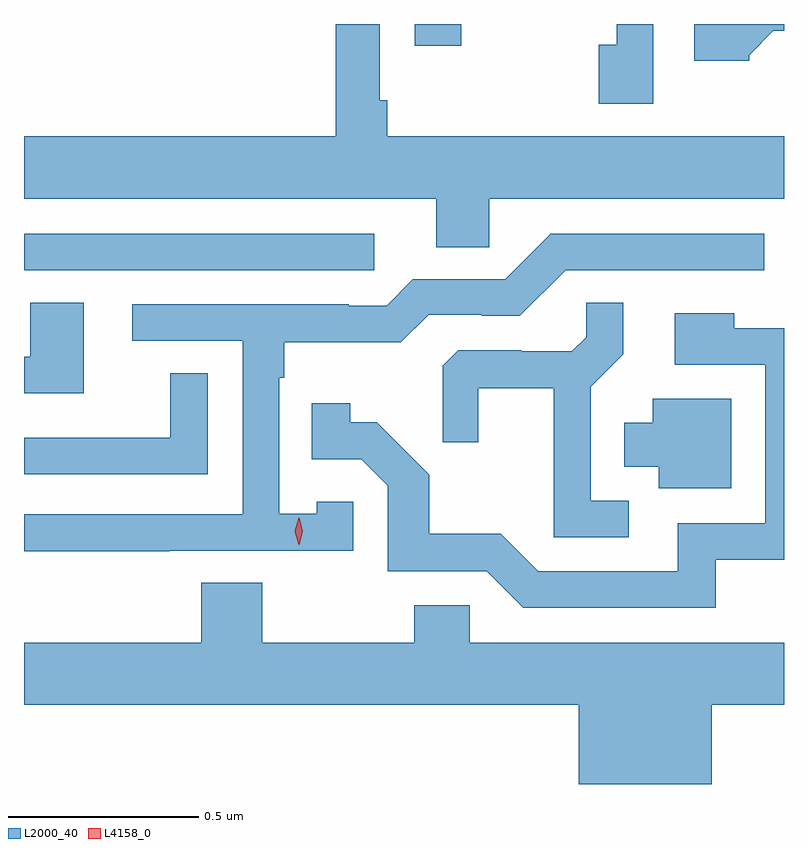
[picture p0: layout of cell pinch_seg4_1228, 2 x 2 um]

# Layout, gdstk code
import gdstk
lib = gdstk.Library(unit=1e-6, precision=1e-09)
def R(c, l, rs):  # rectangles x0, y0, x1, y1
    for r in rs: c.add(gdstk.rectangle(r[:2], r[2:], *l))
def P(c, l, *ps):  # polygons
    for p in ps: c.add(gdstk.Polygon(p, *l))
L2000_40 = (2000, 40)
L4158_0 = (4158, 0)

pinch_seg4_1228 = lib.new_cell('pinch_seg4_1228')
R(pinch_seg4_1228, L2000_40, [(337.272,799.296,338.194,799.392), (338.3,799.887,338.422,799.944)])
P(pinch_seg4_1228, L2000_40, [(338.496,799.484),(339.272,799.484),(339.272,799.648),(338.228,799.648),(338.228,799.744),(338.208,799.744),(338.208,799.944),(338.092,799.944),(338.092,799.648),(337.272,799.648),(337.272,799.484),(338.357,799.484),(338.357,799.357),(338.496,799.357)],
  [(339.18,799.862),(339.244,799.926),(339.272,799.926),(339.272,799.944),(339.036,799.944),(339.036,799.847),(339.18,799.847)],
  [(338.928,799.944),(338.832,799.944),(338.832,799.89),(338.785,799.89),(338.785,799.734),(338.928,799.734)],
  [(337.655,798.558),(338.139,798.558),(338.139,798.687),(338.043,798.687),(338.043,798.655),(337.944,798.655),(337.944,799.013),(337.957,799.013),(337.957,799.106),(338.264,799.106),(338.337,799.179),(338.476,799.179),(338.476,799.176),(338.577,799.176),(338.697,799.296),(339.22,799.296),(339.22,799.392),(338.658,799.392),(338.538,799.272),(338.295,799.272),(338.226,799.203),(338.126,799.203),(338.126,799.206),(337.557,799.206),(337.557,799.11),(337.848,799.11),(337.848,798.654),(337.272,798.654),(337.272,798.556),(337.655,798.556)],
  [(338.863,798.69),(338.763,798.69),(338.763,798.989),(338.849,799.075),(338.849,799.211),(338.751,799.211),(338.751,799.12),(338.714,799.083),(338.58,799.083),(338.58,799.086),(338.415,799.086),(338.374,799.045),(338.374,798.843),(338.468,798.843),(338.468,798.986),(338.666,798.986),(338.666,798.594),(338.863,798.594)],
  [(337.429,799.211),(337.289,799.211),(337.289,799.068),(337.272,799.068),(337.272,798.972),(337.429,798.972)],
  [(339.092,798.534),(339.272,798.534),(339.272,799.143),(339.141,799.143),(339.141,799.183),(338.985,799.183),(338.985,799.047),(339.222,799.047),(339.222,798.63),(338.993,798.63),(338.993,798.504),(338.625,798.504),(338.527,798.603),(338.338,798.603),(338.338,798.758),(338.2,798.896),(338.13,798.896),(338.13,798.946),(338.029,798.946),(338.029,798.798),(338.16,798.798),(338.229,798.729),(338.229,798.504),(338.49,798.504),(338.586,798.408),(339.092,798.408)],
  [(337.755,799.025),(337.657,799.025),(337.657,798.855),(337.272,798.855),(337.272,798.759),(337.755,798.759)],
  [(339.133,798.958),(338.927,798.958),(338.927,798.895),(338.852,798.895),(338.852,798.779),(338.942,798.779),(338.942,798.722),(339.133,798.722)],
  [(339.082,798.152),(339.272,798.152),(339.272,798.316),(338.445,798.316),(338.445,798.414),(338.299,798.414),(338.299,798.316),(337.899,798.316),(337.899,798.473),(337.739,798.473),(337.739,798.316),(337.272,798.316),(337.272,798.152),(338.732,798.152),(338.732,797.944),(339.082,797.944)])
P(pinch_seg4_1228, L4158_0, [(337.995,798.573),(337.995,798.573),(337.985,798.609),(337.995,798.645),(337.995,798.646),(337.996,798.645),(338.005,798.609),(337.996,798.573)])

lib.write_gds('pinch_seg4_1228.gds')
